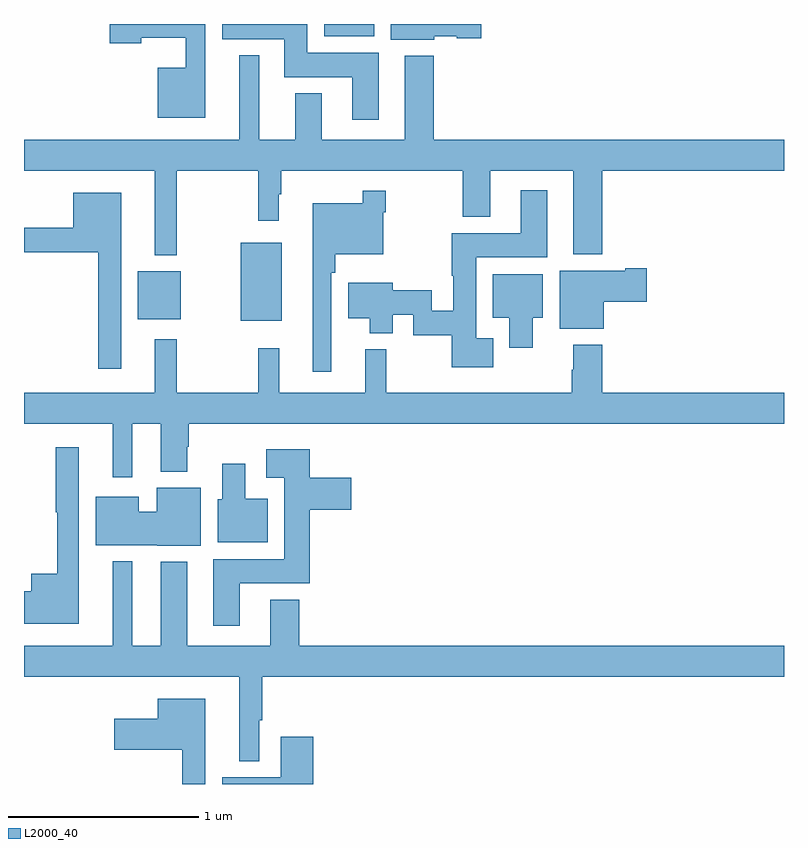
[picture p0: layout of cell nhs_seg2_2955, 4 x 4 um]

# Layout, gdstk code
import gdstk
lib = gdstk.Library(unit=1e-6, precision=1e-09)
def R(c, l, rs):  # rectangles x0, y0, x1, y1
    for r in rs: c.add(gdstk.rectangle(r[:2], r[2:], *l))
def P(c, l, *ps):  # polygons
    for p in ps: c.add(gdstk.Polygon(p, *l))
L2000_40 = (2000, 40)

nhs_seg2_2955 = lib.new_cell('nhs_seg2_2955')
R(nhs_seg2_2955, L2000_40, [(268.142,588.239,268.357,588.649), (267.599,588.245,267.826,588.499), (268.58,589.736,268.843,589.8)])
P(nhs_seg2_2955, L2000_40, [(269.16,589.736),(269.277,589.736),(269.277,589.724),(269.407,589.724),(269.407,589.8),(268.931,589.8),(268.931,589.718),(269.16,589.718)],
  [(267.955,589.8),(267.452,589.8),(267.452,589.7),(267.618,589.7),(267.618,589.727),(267.851,589.727),(267.851,589.57),(267.704,589.57),(267.704,589.307),(267.955,589.307)],
  [(268.867,589.648),(268.492,589.648),(268.492,589.8),(268.043,589.8),(268.043,589.721),(268.37,589.721),(268.37,589.52),(268.727,589.52),(268.727,589.296),(268.867,589.296)],
  [(267.803,589.028),(268.233,589.028),(268.233,588.765),(268.342,588.765),(268.342,588.905),(268.354,588.905),(268.354,589.028),(269.308,589.028),(269.308,588.785),(269.455,588.785),(269.455,589.028),(269.891,589.028),(269.891,588.587),(270.044,588.587),(270.044,589.028),(271,589.028),(271,589.192),(269.156,589.192),(269.156,589.633),(269.003,589.633),(269.003,589.192),(268.567,589.192),(268.567,589.435),(268.427,589.435),(268.427,589.192),(268.237,589.192),(268.237,589.636),(268.133,589.636),(268.133,589.192),(267,589.192),(267,589.028),(267.689,589.028),(267.689,588.584),(267.803,588.584)],
  [(269.47,588.145),(269.38,588.145),(269.38,588.572),(269.755,588.572),(269.755,588.925),(269.615,588.925),(269.615,588.7),(269.251,588.7),(269.251,588.476),(269.258,588.476),(269.258,588.29),(269.145,588.29),(269.145,588.398),(268.942,588.398),(268.942,588.439),(268.706,588.439),(268.706,588.251),(268.82,588.251),(268.82,588.173),(268.942,588.173),(268.942,588.27),(269.049,588.27),(269.049,588.162),(269.251,588.162),(269.251,587.993),(269.47,587.993)],
  [(268.617,588.491),(268.637,588.491),(268.637,588.587),(268.89,588.587),(268.89,588.809),(268.903,588.809),(268.903,588.922),(268.782,588.922),(268.782,588.856),(268.52,588.856),(268.52,587.97),(268.617,587.97)],
  [(267.511,588.913),(267.26,588.913),(267.26,588.727),(267,588.727),(267,588.598),(267.39,588.598),(267.39,587.985),(267.511,587.985)],
  [(270.052,588.337),(270.277,588.337),(270.277,588.515),(270.164,588.515),(270.164,588.502),(269.819,588.502),(269.819,588.197),(270.052,588.197)],
  [(269.677,588.254),(269.731,588.254),(269.731,588.484),(269.468,588.484),(269.468,588.254),(269.555,588.254),(269.555,588.096),(269.677,588.096)],
  [(267.571,587.696),(267.719,587.696),(267.719,587.444),(267.859,587.444),(267.859,587.576),(267.867,587.576),(267.867,587.696),(271,587.696),(271,587.86),(270.044,587.86),(270.044,588.112),(269.891,588.112),(269.891,587.981),(269.884,587.981),(269.884,587.86),(268.906,587.86),(268.906,588.088),(268.796,588.088),(268.796,587.86),(268.343,587.86),(268.343,588.094),(268.233,588.094),(268.233,587.86),(267.803,587.86),(267.803,588.142),(267.689,588.142),(267.689,587.86),(267,587.86),(267,587.696),(267.467,587.696),(267.467,587.415),(267.571,587.415)],
  [(267.289,587.572),(267.168,587.572),(267.168,587.231),(267.175,587.231),(267.175,586.906),(267.038,586.906),(267.038,586.814),(267,586.814),(267,586.643),(267.289,586.643)],
  [(268.135,586.856),(268.505,586.856),(268.505,587.243),(268.723,587.243),(268.723,587.413),(268.505,587.413),(268.505,587.563),(268.275,587.563),(268.275,587.411),(268.37,587.411),(268.37,586.984),(267.995,586.984),(267.995,586.632),(268.135,586.632)],
  [(268.282,587.302),(268.165,587.302),(268.165,587.485),(268.043,587.485),(268.043,587.298),(268.019,587.298),(268.019,587.072),(268.282,587.072)],
  [(267.931,587.359),(267.698,587.359),(267.698,587.233),(267.604,587.233),(267.604,587.311),(267.377,587.311),(267.377,587.057),(267.702,587.057),(267.702,587.054),(267.931,587.054)],
  [(268.237,586.135),(268.255,586.135),(268.255,586.364),(271,586.364),(271,586.528),(268.448,586.528),(268.448,586.771),(268.295,586.771),(268.295,586.528),(267.859,586.528),(267.859,586.969),(267.719,586.969),(267.719,586.528),(267.571,586.528),(267.571,586.972),(267.467,586.972),(267.467,586.528),(267,586.528),(267,586.364),(268.133,586.364),(268.133,585.92),(268.237,585.92)],
  [(267.955,586.249),(267.704,586.249),(267.704,586.144),(267.474,586.144),(267.474,585.979),(267.834,585.979),(267.834,585.8),(267.955,585.8)],
  [(268.523,586.048),(268.352,586.048),(268.352,585.835),(268.043,585.835),(268.043,585.8),(268.523,585.8)])

lib.write_gds('nhs_seg2_2955.gds')
